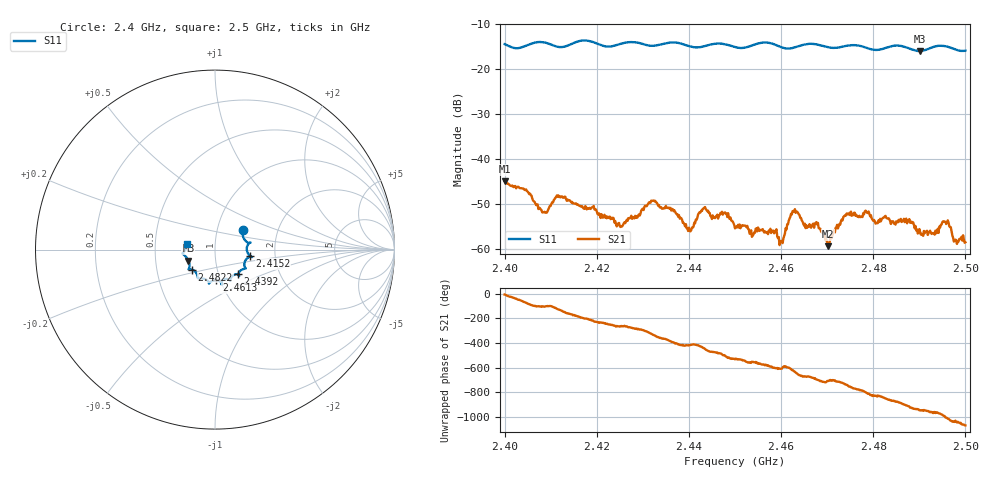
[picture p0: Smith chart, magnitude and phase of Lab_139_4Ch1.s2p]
# Hz S RI R 50
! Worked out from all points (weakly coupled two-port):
!   601 points, 2.4 GHz to 2.5 GHz, reference 50 ohm
!   highest |S21| = -44.85 dB at 2.4 GHz (marker M1); lowest = -59.3 dB at 2.4702 GHz (marker M2)
!   lowest |S11| = -15.9 dB at 2.4902 GHz (marker M3), VSWR 1.38, Z = 36.9 - j4.62 ohm
!   |S11| at or under -10 dB: start of sweep to end of sweep
!   S12 and S22 are empty: the file has one direction only
!   S11 on the Smith chart (normalised r, x): 2.4 GHz: 1.33, +0.31; 2.4152 GHz: 1.48, -0.11; 2.4392 GHz: 1.24, -0.35; 2.4613 GHz: 0.96, -0.34; 2.4822 GHz: 0.76, -0.17; 2.5 GHz: 0.73, +0.05
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2.4e9  0.1555 0.1107  0.00567 -0.000752  0 0  0 0
2.408667e9  0.1954 0.0394  -0.000707 -0.00253  0 0  0 0
2.4115e9  0.1779 0.0138  -0.00227 -0.00314  0 0  0 0
2.415167e9  0.195 -0.0359  -0.00321 -0.000349  0 0  0 0
2.416667e9  0.2047 -0.0419  -0.00294 0.000713  0 0  0 0
2.425333e9  0.1665 -0.0985  -0.000264 0.00179  0 0  0 0
2.433333e9  0.132 -0.1321  0.00303 0.000433  0 0  0 0
2.439167e9  0.127 -0.1379  0.000884 -0.00158  0 0  0 0
2.443333e9  0.089 -0.1579  0.000337 -0.0029  0 0  0 0
2.45e9  0.0685 -0.1637  -0.0017 -0.000241  0 0  0 0
2.46e9  0.0245 -0.1754  -0.000479 0.00115  0 0  0 0
2.461333e9  0.00704 -0.1704  -0.00105 0.00159  0 0  0 0
2.463e9  -0.017 -0.1751  0.000126 0.00281  0 0  0 0
2.466667e9  -0.0336 -0.1897  0.0014 0.00118  0 0  0 0
2.470167e9  -0.0443 -0.1708  0.00106 0.000255  0 0  0 0
2.474667e9  -0.0902 -0.1612  0.00212 -0.00125  0 0  0 0
2.482167e9  -0.128 -0.1118  -0.00114 -0.00195  0 0  0 0
2.483333e9  -0.1393 -0.1102  -0.00167 -0.00146  0 0  0 0
2.490167e9  -0.148 -0.061  -0.00112 0.00109  0 0  0 0
2.495833e9  -0.1793 -0.0188  0.000435 0.00187  0 0  0 0
2.497833e9  -0.1664 -0.00247  0.000796 0.00101  0 0  0 0
2.5e9  -0.1583 0.0337  0.00117 0.000273  0 0  0 0
